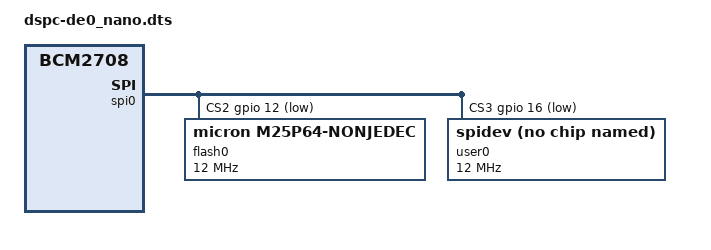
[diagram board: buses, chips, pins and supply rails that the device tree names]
// Overlay for base board
/dts-v1/;
/plugin/;

/ {
	compatible = "brcm,bcm2708";

	fragment@1 {
		target = <&gpio>;
		__overlay__ {
			eth_cs_pins: eth_cs_pins {
				brcm,pins = <8 23>;
				brcm,function = <1>; /* out */
			};

			de0_nano_cs_pins: de0_nano_cs_pins {
				brcm,pins = <12 16>;
				brcm,function = <1>; /* out */
			};
		};
	};

	fragment@2 {
		target = <&spi0>;
		__overlay__ {
			/* needed to avoid dtc warning */
			#address-cells = <1>;
			#size-cells = <0>;
			compatible = "brcm,bcm2835-spi";
			pinctrl-0 = <&spi0_pins &eth_cs_pins &de0_nano_cs_pins>;
			status = "okay";
			cs-gpios = <&gpio 8 1>, <&gpio 23 1>, <&gpio 12 1>, <&gpio 16 1>;

			flash0: epcs64@2{
				/* use compatible flash driver, see spi-nor.c:
				 * { "epcs64",           INFO(0, 0,  256 * 256, 128, 0) },
				 * { "m25p64-nonjedec",  INFO(0, 0,  64 * 1024, 128, 0) },
				 */
				compatible = "micron,m25p64-nonjedec", "spi-nor";
				reg = <2>; /* CE2 */
				spi-max-frequency = <12000000>;
				status = "okay";
			};

			user0: spidev@3{
				compatible = "spidev";
				reg = <3>;   /* CE3 */
				#address-cells = <1>;
				#size-cells = <0>;
				spi-max-frequency = <12000000>;
				status = "okay";
			};
		};
	};

	__overrides__ {
		mtd_speed = <&flash0>, "spi-max-frequency:0"; /* 32 bit integer parameter */
		user_speed = <&user0>, "spi-max-frequency:0"; /* 32 bit integer parameter */
	};
};
